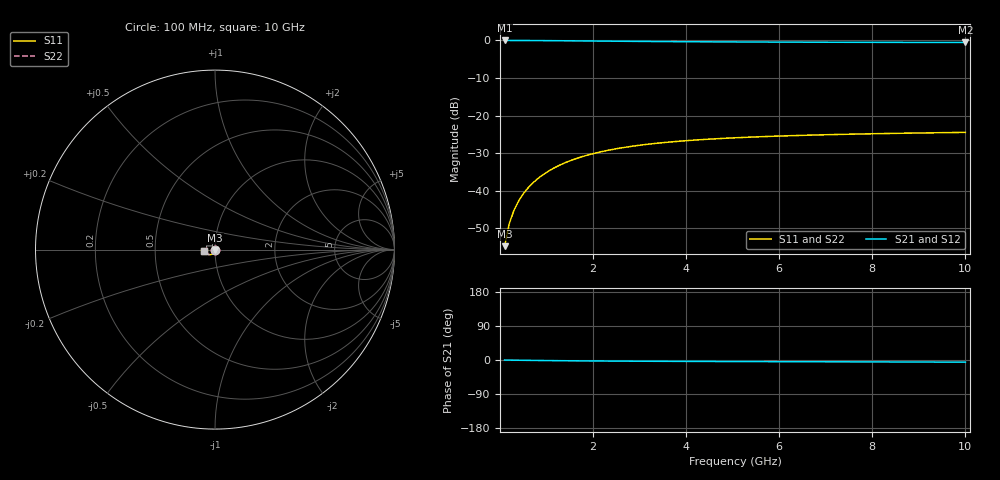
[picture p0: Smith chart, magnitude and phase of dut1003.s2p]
! Touchstone file exported from HFSS 2024.1.0
!  File:  C:/UserFiles/LocalFiles/RDL_TSV_Batchsim/temp_TSV1_1003_1780058124.aedt
!  Generated:  08:41:14 PM May 29, 2026
!  Design:  TSV1
!  Project:  temp_TSV1_1003_1780058124
!  Setup:  Setup1
!  Solution:  Sweep
! Variables:
!  dtsv = 13.61um
!  hbump = 3um
!  htsv = 87.77um
!  lrdl = 252.1521522um
!  p = 40
!  p1 = 55.86um
!  t = 500um
!  trdl = 3um
!  wrdl = 24.89489489um
# GHz S MA R 50.000000
! Terminal data exported
! Port[1] = TSV22_T1
! Port[2] = TSV22_T2
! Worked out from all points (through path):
!   100 points, 100 MHz to 10 GHz, reference 50 ohm
!   highest |S21| = 0.00 dB at 100 MHz (marker M1); lowest = -0.5 dB at 10 GHz (marker M2)
!   lowest |S11| = -54.8 dB at 100 MHz (marker M3), VSWR 1.00, Z = 50 - j0.183 ohm
!   |S11| at or under -10 dB: start of sweep to end of sweep
!   |S22| runs from -54.8 to -24.5 dB; largest |S21 - S12| = 9e-15
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0.1  0.001826 -89.1  0.9998 -0.2  0.9998 -0.2  0.001826 -89.1
! Gamma 0 0 0 0
! Port Impedance 50 0 50 0
0.2  0.003648 -92.2  0.9996 -0.3  0.9996 -0.3  0.003648 -92.2
0.3  0.005467 -94.5  0.9993 -0.5  0.9993 -0.5  0.005467 -94.5
0.4  0.007275 -96.6  0.9989 -0.6  0.9989 -0.6  0.007275 -96.6
0.5  0.009063 -98.6  0.9984 -0.8  0.9984 -0.8  0.009063 -98.6
0.6  0.01083 -100.6  0.9977 -0.9  0.9977 -0.9  0.01083 -100.6
0.7  0.01256 -102.5  0.997 -1.1  0.997 -1.1  0.01256 -102.5
0.8  0.01426 -104.4  0.9962 -1.2  0.9962 -1.2  0.01426 -104.4
0.9  0.01592 -106.2  0.9953 -1.3  0.9953 -1.3  0.01592 -106.2
1.1  0.01911 -109.8  0.9933 -1.6  0.9933 -1.6  0.01911 -109.8
1.4  0.02355 -114.8  0.99 -2.0  0.99 -2.0  0.02355 -114.8
1.6  0.02626 -118.0  0.9876 -2.2  0.9876 -2.2  0.02626 -118.0
1.8  0.02878 -121.0  0.9852 -2.4  0.9852 -2.4  0.02878 -121.0
2.1  0.03221 -125.2  0.9815 -2.6  0.9815 -2.6  0.03221 -125.2
2.5  0.03616 -130.2  0.9768 -2.9  0.9768 -2.9  0.03616 -130.2
2.9  0.0395 -134.7  0.9724 -3.2  0.9724 -3.2  0.0395 -134.7
3.4  0.04296 -139.7  0.9675 -3.4  0.9675 -3.4  0.04296 -139.7
4.2  0.04724 -146.4  0.9609 -3.7  0.9609 -3.7  0.04724 -146.4
5.1  0.05076 -152.5  0.9552 -4.1  0.9552 -4.1  0.05076 -152.5
6.7  0.05497 -161.1  0.9479 -4.6  0.9479 -4.6  0.05497 -161.1
8.4  0.05784 -168.1  0.943 -5.1  0.943 -5.1  0.05784 -168.1
10  0.05973 -173.5  0.9398 -5.7  0.9398 -5.7  0.05973 -173.5
